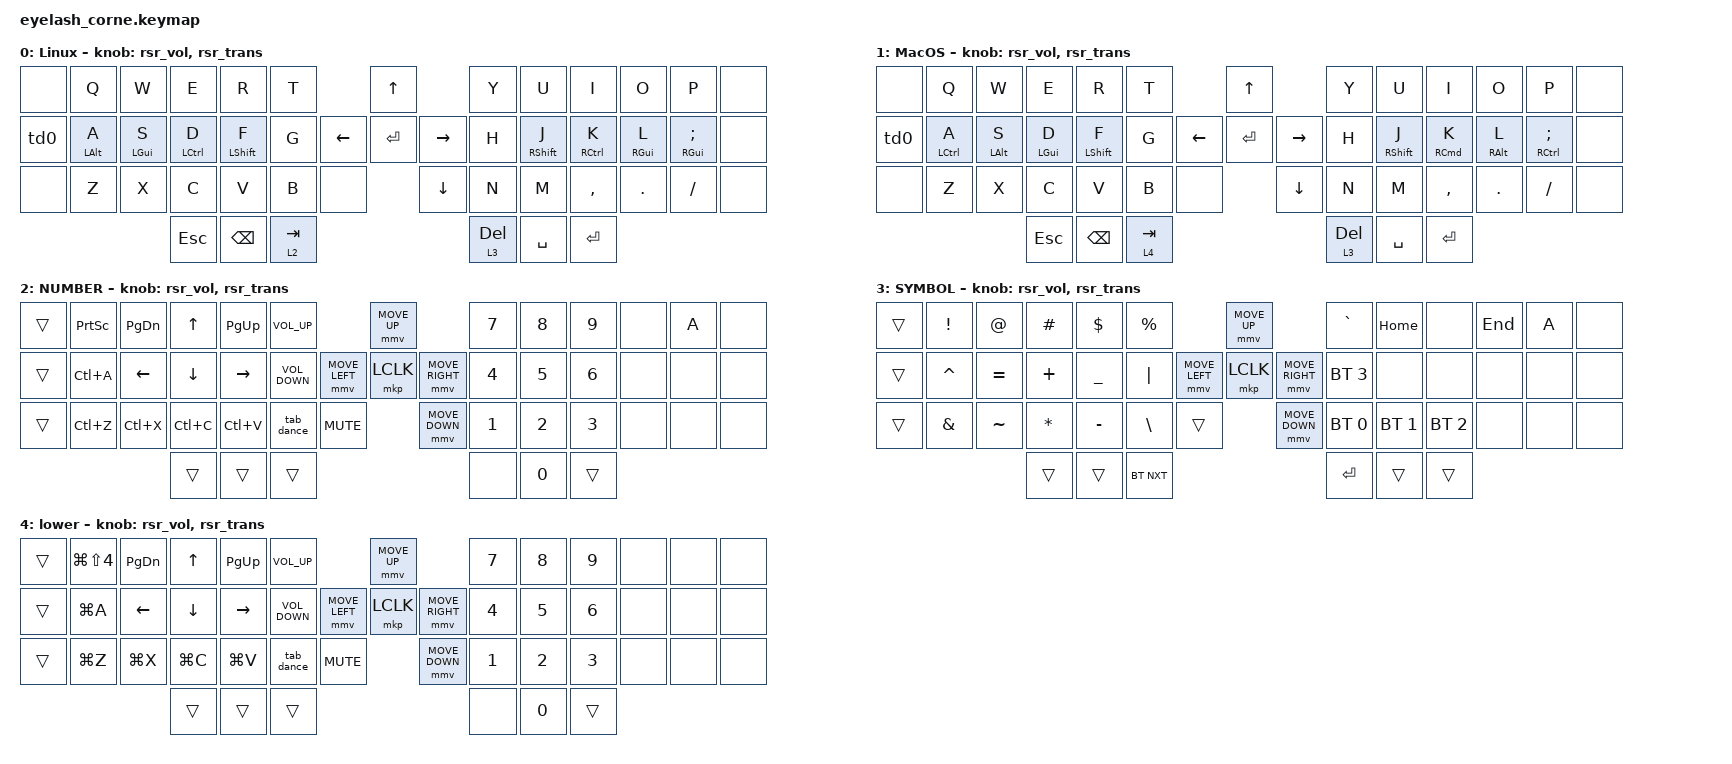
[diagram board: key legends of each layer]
#define ZMK_POINTING_DEFAULT_MOVE_VAL 1200  // 600
#define ZMK_POINTING_DEFAULT_SCRL_VAL 25   // 10

#include <input/processors.dtsi>
#include <zephyr/dt-bindings/input/input-event-codes.h>
#include <behaviors/runtime-sensor-rotate.dtsi>
#include <behaviors.dtsi>
#include <dt-bindings/zmk/bt.h>
#include <dt-bindings/zmk/keys.h>
#include <dt-bindings/zmk/pointing.h>

/ {
    behaviors {
        td0: td0 {
            compatible = "zmk,behavior-tap-dance";
            display-name = "Shift/Caps Lock Tap Dance";
            #binding-cells = <0>;
            bindings = <&kp LEFT_SHIFT>, <&kp CAPS>;
        };

        rsr_vol: rsr_vol {
            compatible = "zmk,behavior-runtime-sensor-rotate";
            #sensor-binding-cells = <0>;
            tap-ms = <5>;
            cw-binding = <&kp C_VOL_UP>;
            ccw-binding = <&kp C_VOL_DN>;
        };

        rsr_trans: rsr_trans {
            compatible = "zmk,behavior-runtime-sensor-rotate";
            #sensor-binding-cells = <0>;
            tap-ms = <0>;
        };

        home_row: home_row {
            compatible = "zmk,behavior-hold-tap";
            label = "HOME_ROW";
            bindings = <&kp>, <&kp>;

            #binding-cells = <2>;
            tapping-term-ms = <300>;
            quick-tap-ms = <250>;
            flavor = "balanced";
            require-prior-idle-ms = <0>;
        };

        tab_dance: tab_dance {
            compatible = "zmk,behavior-tap-dance";
            label = "TAB_DANCE";
            #binding-cells = <0>;
            bindings = <&kp C_PLAY_PAUSE>, <&kp C_NEXT>, <&kp C_PREV>;
        };
    };

    combos {
        compatible = "zmk,combos";

        softoff {
            bindings = <&kp APOS>;
            key-positions = <9 10>;
        };

        cap_word {
            bindings = <&caps_word>;
            key-positions = <17 23>;
        };

        l_bracket {
            bindings = <&kp LEFT_BRACKET>;
            key-positions = <3 4>;
        };

        r_bracket {
            bindings = <&kp RIGHT_BRACKET>;
            key-positions = <9 8>;
        };

        l_parentesis {
            bindings = <&kp LEFT_PARENTHESIS>;
            key-positions = <16 17>;
        };

        r_parentesis {
            bindings = <&kp RIGHT_PARENTHESIS>;
            key-positions = <23 24>;
        };

        mute {
            bindings = <&kp C_MUTE>;
            key-positions = <5 18>;
        };

        l_brace {
            bindings = <&kp LEFT_BRACE>;
            key-positions = <31 32>;
        };

        r_brace {
            bindings = <&kp RIGHT_BRACE>;
            key-positions = <37 38>;
        };

        caps {
            bindings = <&kp CAPS>;
            key-positions = <4 8>;
        };

        to_macOS {
            bindings = <&tog 1>;
            key-positions = <44 45>;
        };

        clear {
            bindings = <&bt BT_CLR>;
            key-positions = <8 9 10 11>;
        };
    };

    keymap {
        compatible = "zmk,keymap";

        Linux {
            display-name = "Linux";
            bindings = <
&none  &kp Q                 &kp W                 &kp E                     &kp R                   &kp T                         &kp UP                &kp Y         &kp U                    &kp I                      &kp O                  &kp P                          &none
&td0   &home_row LEFT_ALT A  &home_row LEFT_GUI S  &home_row LEFT_CONTROL D  &home_row LEFT_SHIFT F  &kp G               &kp LEFT  &kp ENTER  &kp RIGHT  &kp H         &home_row RIGHT_SHIFT J  &home_row RIGHT_CONTROL K  &home_row RIGHT_GUI L  &home_row RIGHT_GUI SEMICOLON  &none
&none  &kp Z                 &kp X                 &kp C                     &kp V                   &kp B      &none              &kp DOWN              &kp N         &kp M                    &kp COMMA                  &kp DOT                &kp FSLH                       &none
                                                   &kp ESC                   &kp BACKSPACE           &lt 2 TAB                                           &lt 3 DELETE  &kp SPACE                &kp ENTER
            >;

            sensor-bindings = <&rsr_vol &rsr_trans>;
        };

        MAC {
            display-name = "MacOS";
            bindings = <
&none  &kp Q                     &kp W                 &kp E             &kp R                   &kp T                         &kp UP                &kp Y         &kp U                    &kp I                      &kp O                  &kp P                              &none
&td0   &home_row LEFT_CONTROL A  &home_row LEFT_ALT S  &home_row LGUI D  &home_row LEFT_SHIFT F  &kp G               &kp LEFT  &kp ENTER  &kp RIGHT  &kp H         &home_row RIGHT_SHIFT J  &home_row RIGHT_COMMAND K  &home_row RIGHT_ALT L  &home_row RIGHT_CONTROL SEMICOLON  &none
&none  &kp Z                     &kp X                 &kp C             &kp V                   &kp B      &none              &kp DOWN              &kp N         &kp M                    &kp COMMA                  &kp DOT                &kp FSLH                           &none
                                                       &kp ESC           &kp BACKSPACE           &lt 4 TAB                                           &lt 3 DELETE  &kp SPACE                &kp ENTER
            >;

            sensor-bindings = <&rsr_vol>, <&rsr_trans>;
        };

        lower_layer {
            display-name = "NUMBER";
            bindings = <
&trans  &kp PRINTSCREEN  &kp PAGE_DOWN   &kp UP_ARROW    &kp PAGE_UP  &kp C_VOLUME_UP                                  &mmv MOVE_UP                     &kp N7  &kp N8  &kp N9  &none  &kp A  &none
&trans  &kp LC(A)        &kp LEFT_ARROW  &kp DOWN_ARROW  &kp RIGHT    &kp C_VOLUME_DOWN                &mmv MOVE_LEFT  &mkp LCLK       &mmv MOVE_RIGHT  &kp N4  &kp N5  &kp N6  &none  &none  &none
&trans  &kp LC(Z)        &kp LC(X)       &kp LC(C)       &kp LC(V)    &tab_dance         &kp C_MUTE                    &mmv MOVE_DOWN                   &kp N1  &kp N2  &kp N3  &none  &none  &none
                                         &trans          &trans       &trans                                                                            &none   &kp N0  &trans
            >;

            sensor-bindings = <&rsr_vol &rsr_trans>;
        };

        raise_layer {
            display-name = "SYMBOL";
            bindings = <
&trans  &kp EXCL   &kp AT     &kp HASH   &kp DLLR        &kp PRCNT                                &mmv MOVE_UP                     &kp GRAVE     &kp HOME      &none         &kp END  &kp A  &none
&trans  &kp CARET  &kp EQUAL  &kp PLUS   &kp UNDERSCORE  &kp PIPE                 &mmv MOVE_LEFT  &mkp LCLK       &mmv MOVE_RIGHT  &bt BT_SEL 3  &none         &none         &none    &none  &none
&trans  &kp AMPS   &kp TILDE  &kp ASTRK  &kp MINUS       &kp BACKSLASH  &trans                    &mmv MOVE_DOWN                   &bt BT_SEL 0  &bt BT_SEL 1  &bt BT_SEL 2  &none    &none  &none
                              &trans     &trans          &bt BT_NXT                                                                &kp RET       &trans        &trans
            >;

            sensor-bindings = <&rsr_vol &rsr_trans>;
        };

        lower_mac {
            display-name = "lower";
            bindings = <
&trans  &kp LG(LS(NUMBER_4))  &kp PAGE_DOWN   &kp UP_ARROW    &kp PAGE_UP  &kp C_VOLUME_UP                                  &mmv MOVE_UP                     &kp N7  &kp N8  &kp N9  &none  &none  &none
&trans  &kp LG(A)             &kp LEFT_ARROW  &kp DOWN_ARROW  &kp RIGHT    &kp C_VOLUME_DOWN                &mmv MOVE_LEFT  &mkp LCLK       &mmv MOVE_RIGHT  &kp N4  &kp N5  &kp N6  &none  &none  &none
&trans  &kp LG(Z)             &kp LG(X)       &kp LG(C)       &kp LG(V)    &tab_dance         &kp C_MUTE                    &mmv MOVE_DOWN                   &kp N1  &kp N2  &kp N3  &none  &none  &none
                                              &trans          &trans       &trans                                                                            &none   &kp N0  &trans
            >;

            sensor-bindings = <&rsr_vol>, <&rsr_trans>;
        };
    };
};
